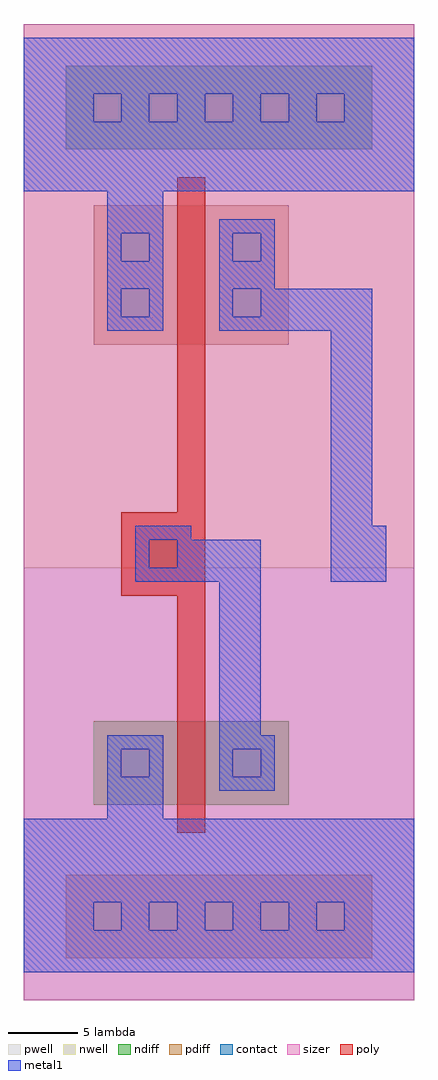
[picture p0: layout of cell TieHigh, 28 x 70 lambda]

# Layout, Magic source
magic
tech LibreSilicon-test000-concept-mg-70-7
<< sizer >>
rect 0 0 28 70
<< metal1 >>
rect 0 65 28 69
rect 0 63 5 65
rect 7 63 9 65
rect 11 63 13 65
rect 15 63 17 65
rect 19 63 21 65
rect 23 63 28 65
rect 0 58 28 63
rect 6 55 10 58
rect 14 55 18 56
rect 6 53 7 55
rect 9 53 10 55
rect 14 53 15 55
rect 17 53 18 55
rect 6 51 10 53
rect 14 51 18 53
rect 6 49 7 51
rect 9 49 10 51
rect 14 49 15 51
rect 17 49 25 51
rect 6 48 10 49
rect 14 48 25 49
rect 22 34 25 48
rect 8 33 12 34
rect 22 30 26 34
rect 8 31 9 33
rect 11 31 17 33
rect 8 30 17 31
rect 14 19 17 30
rect 6 18 10 19
rect 14 18 18 19
rect 6 16 7 18
rect 9 16 10 18
rect 14 16 15 18
rect 17 16 18 18
rect 6 13 10 16
rect 14 15 18 16
rect 0 7 28 13
rect 0 5 5 7
rect 7 5 9 7
rect 11 5 13 7
rect 15 5 17 7
rect 19 5 21 7
rect 23 5 28 7
rect 0 2 28 5
<< contact >>
rect 5 63 7 65
rect 9 63 11 65
rect 13 63 15 65
rect 17 63 19 65
rect 21 63 23 65
rect 7 53 9 55
rect 15 53 17 55
rect 7 49 9 51
rect 15 49 17 51
rect 9 31 11 33
rect 7 16 9 18
rect 15 16 17 18
rect 5 5 7 7
rect 9 5 11 7
rect 13 5 15 7
rect 17 5 19 7
rect 21 5 23 7
<< poly >>
rect 11 35 13 59
rect 7 29 13 35
rect 11 12 13 29
<< ndiff >>
rect 3 61 25 67
rect 5 14 19 20
<< pdiff >>
rect 5 47 19 57
rect 3 3 25 9
<< nwell >>
rect 0 31 28 70
<< pwell >>
rect 0 0 28 31
<< end >>
